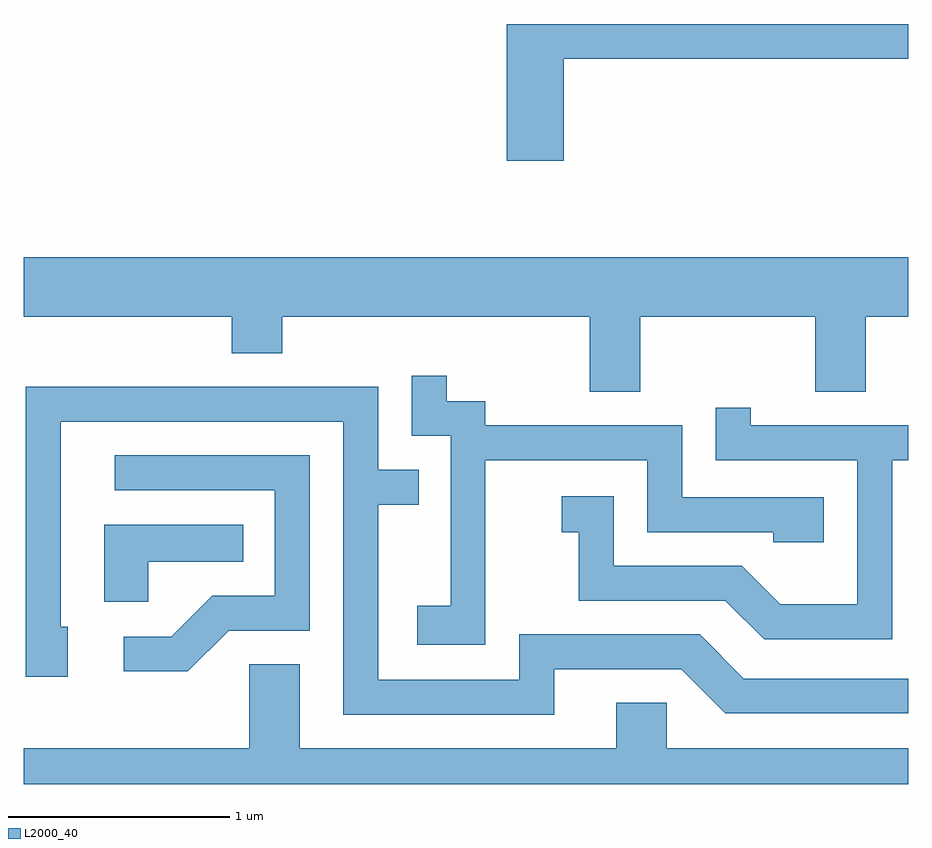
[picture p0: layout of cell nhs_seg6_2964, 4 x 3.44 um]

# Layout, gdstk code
import gdstk
lib = gdstk.Library(unit=1e-6, precision=1e-09)
def P(c, l, *ps):  # polygons
    for p in ps: c.add(gdstk.Polygon(p, *l))
L2000_40 = (2000, 40)

nhs_seg6_2964 = lib.new_cell('nhs_seg6_2964')
P(nhs_seg6_2964, L2000_40, [(278.054,1533.441),(279.611,1533.441),(279.611,1533.599),(277.796,1533.599),(277.796,1532.981),(278.054,1532.981)],
  [(278.399,1532.276),(279.191,1532.276),(279.191,1531.936),(279.419,1531.936),(279.419,1532.276),(279.611,1532.276),(279.611,1532.544),(275.611,1532.544),(275.611,1532.276),(276.551,1532.276),(276.551,1532.111),(276.779,1532.111),(276.779,1532.276),(278.171,1532.276),(278.171,1531.936),(278.399,1531.936)],
  [(277.699,1531.626),(278.431,1531.626),(278.431,1531.301),(279.001,1531.301),(279.001,1531.256),(279.229,1531.256),(279.229,1531.459),(278.589,1531.459),(278.589,1531.784),(277.699,1531.784),(277.699,1531.894),(277.524,1531.894),(277.524,1532.008),(277.366,1532.008),(277.366,1531.736),(277.541,1531.736),(277.541,1530.969),(277.391,1530.969),(277.391,1530.791),(277.699,1530.791)],
  [(278.009,1530.681),(278.584,1530.681),(278.784,1530.481),(279.611,1530.481),(279.611,1530.639),(278.867,1530.639),(278.667,1530.839),(277.851,1530.839),(277.851,1530.634),(277.214,1530.634),(277.214,1531.426),(277.398,1531.426),(277.398,1531.584),(277.214,1531.584),(277.214,1531.959),(275.621,1531.959),(275.621,1530.646),(275.809,1530.646),(275.809,1530.874),(275.779,1530.874),(275.779,1531.801),(277.056,1531.801),(277.056,1530.476),(278.009,1530.476)],
  [(279.539,1531.626),(279.611,1531.626),(279.611,1531.784),(278.899,1531.784),(278.899,1531.863),(278.741,1531.863),(278.741,1531.626),(279.381,1531.626),(279.381,1530.974),(279.032,1530.974),(278.857,1531.149),(278.279,1531.149),(278.279,1531.464),(278.043,1531.464),(278.043,1531.301),(278.121,1531.301),(278.121,1530.991),(278.784,1530.991),(278.959,1530.816),(279.539,1530.816)],
  [(276.537,1530.856),(276.904,1530.856),(276.904,1531.649),(276.023,1531.649),(276.023,1531.491),(276.746,1531.491),(276.746,1531.014),(276.464,1531.014),(276.279,1530.829),(276.063,1530.829),(276.063,1530.671),(276.352,1530.671)],
  [(276.174,1531.166),(276.603,1531.166),(276.603,1531.334),(275.976,1531.334),(275.976,1530.986),(276.174,1530.986)],
  [(279.611,1530.324),(278.519,1530.324),(278.519,1530.529),(278.291,1530.529),(278.291,1530.324),(276.859,1530.324),(276.859,1530.704),(276.631,1530.704),(276.631,1530.324),(275.611,1530.324),(275.611,1530.162),(279.611,1530.162)])

lib.write_gds('nhs_seg6_2964.gds')
